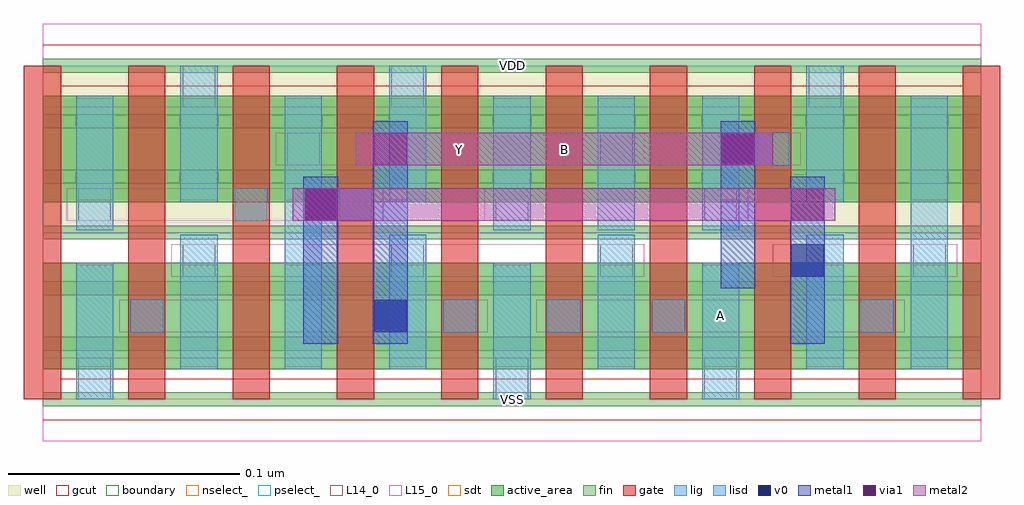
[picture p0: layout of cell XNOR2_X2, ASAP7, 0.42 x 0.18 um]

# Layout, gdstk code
import gdstk
lib = gdstk.Library(unit=1e-6, precision=2.5e-10)
def R(c, l, rs):  # rectangles x0, y0, x1, y1
    for r in rs: c.add(gdstk.rectangle(r[:2], r[2:], *l))
def A(c, l, x, y, w, h, nx, ny, dx, dy):  # array of equal rectangles
    R(c, l, [(x+i*dx, y+j*dy, x+i*dx+w, y+j*dy+h) for i in range(nx) for j in range(ny)])
def P(c, l, *ps):  # polygons
    for p in ps: c.add(gdstk.Polygon(p, *l))
well = (1, 0)
fin = (2, 0)
gate = (7, 0)
gcut = (10, 0)
active_area = (11, 0)
nselect_ = (12, 0)
pselect_ = (13, 0)
L14_0 = (14, 0)
L15_0 = (15, 0)
lig = (16, 0)
lisd = (17, 0)
v0 = (18, 0)
metal1 = (19, 0)
metal2 = (20, 0)
via1 = (21, 0)
sdt = (88, 0)
boundary = (100, 0)

xnor2_x2 = lib.new_cell('XNOR2_X2')
R(xnor2_x2, well, [(0,0.072,0.405,0.144)])
A(xnor2_x2, fin, 0, -0.003, 0.405, 0.006, 1, 7, 0, 0.024)
A(xnor2_x2, gate, -0.008, 0, 0.016, 0.144, 10, 1, 0.045, 0)
P(xnor2_x2, gcut, [(0,-0.009),(0,0),(-0.008,0),(-0.008,0.135),(0.008,0.135),(0.008,0.009),(0.397,0.009),(0.397,0.135),(-0.008,0.135),(-0.008,0.144),(0,0.144),(0,0.153),(0.405,0.153),(0.405,0.144),(0.413,0.144),(0.413,0),(0.405,0),(0.405,-0.009)])
R(xnor2_x2, active_area, [(0,0.013,0.405,0.059), (0,0.085,0.405,0.131)])
R(xnor2_x2, nselect_, [(0,0,0.405,0.072)])
R(xnor2_x2, pselect_, [(0,0.072,0.405,0.144)])
A(xnor2_x2, L14_0, 0.173, 0.029, 0.014, 0.014, 3, 1, 0.045, 0)
A(xnor2_x2, L14_0, 0.0605, 0.053, 0.014, 0.014, 3, 1, 0.09, 0)
R(xnor2_x2, L14_0, [(0.0155,0,0.0295,0.018), (0.1955,0,0.2095,0.018), (0.2855,0,0.2995,0.018), (0.038,0.029,0.052,0.043), (0.353,0.029,0.367,0.043), (0.3755,0.053,0.3895,0.067), (0.0155,0.077,0.0295,0.091), (0.083,0.077,0.097,0.091), (0.128,0.077,0.142,0.091), (0.1955,0.077,0.2095,0.091), (0.2855,0.077,0.2995,0.091), (0.1055,0.101,0.1195,0.115), (0.2405,0.101,0.2545,0.115), (0.308,0.101,0.322,0.115), (0.0605,0.126,0.0745,0.144), (0.1505,0.126,0.1645,0.144), (0.3305,0.126,0.3445,0.144)])
R(xnor2_x2, L15_0, [(0,-0.018,0.405,0.018), (0.033,0.029,0.192,0.043), (0.213,0.029,0.372,0.043), (0.0555,0.053,0.2595,0.067), (0.315,0.053,0.3945,0.067), (0.0105,0.077,0.147,0.091), (0.1905,0.077,0.3045,0.091), (0.1005,0.101,0.2595,0.115), (0.285,0.101,0.327,0.115), (0,0.126,0.405,0.162)])
A(xnor2_x2, lig, 0.173, 0.029, 0.014, 0.014, 3, 1, 0.045, 0)
R(xnor2_x2, lig, [(0.038,0.029,0.052,0.043), (0.353,0.029,0.367,0.043), (0.083,0.077,0.097,0.091), (0.128,0.077,0.142,0.091), (0.308,0.101,0.322,0.115)])
A(xnor2_x2, lisd, 0.0595, 0.013, 0.016, 0.058, 4, 1, 0.09, 0)
A(xnor2_x2, lisd, 0.1945, 0.073, 0.016, 0.058, 3, 1, 0.045, 0)
R(xnor2_x2, lisd, [(0.0145,0,0.0305,0.059), (0.1945,0,0.2105,0.059), (0.2845,0,0.3005,0.059), (0.1045,0.013,0.1205,0.131), (0.3745,0.013,0.3905,0.131), (0.0145,0.073,0.0305,0.131), (0.0595,0.085,0.0755,0.144), (0.1495,0.085,0.1655,0.144), (0.3295,0.085,0.3455,0.144)])
R(xnor2_x2, v0, [(0.143,0.029,0.157,0.043), (0.323,0.053,0.337,0.067), (0.113,0.077,0.127,0.091), (0.293,0.101,0.307,0.115)])
R(xnor2_x2, metal1, [(0.1125,0.024,0.1275,0.096), (0.1425,0.024,0.1575,0.12), (0.3225,0.024,0.3375,0.096), (0.2925,0.048,0.3075,0.12)])
R(xnor2_x2, metal2, [(0.108,0.077,0.342,0.091), (0.135,0.101,0.315,0.115)])
R(xnor2_x2, via1, [(0.113,0.077,0.127,0.091), (0.323,0.077,0.337,0.091), (0.143,0.101,0.157,0.115), (0.293,0.101,0.307,0.115)])
A(xnor2_x2, sdt, 0.0145, 0.014, 0.016, 0.044, 9, 2, 0.045, 0.072)
R(xnor2_x2, boundary, [(0,0,0.405,0.144)])
xnor2_x2.add(gdstk.Label('A', (0.2925,0.036), layer=15, texttype=251))
xnor2_x2.add(gdstk.Label('VSS', (0.2025,0), layer=15, texttype=251))
xnor2_x2.add(gdstk.Label('VDD', (0.2025,0.144), layer=15, texttype=251))
xnor2_x2.add(gdstk.Label('VSS', (0.2025,0), layer=15, texttype=251))
xnor2_x2.add(gdstk.Label('VDD', (0.2025,0.144), layer=15, texttype=251))
xnor2_x2.add(gdstk.Label('Y', (0.18,0.108), layer=15, texttype=251))
xnor2_x2.add(gdstk.Label('VSS', (0.2025,0), layer=15, texttype=251))
xnor2_x2.add(gdstk.Label('VDD', (0.2025,0.144), layer=15, texttype=251))
xnor2_x2.add(gdstk.Label('VSS', (0.2025,0), layer=3, texttype=251))
xnor2_x2.add(gdstk.Label('VSS', (0.2025,0), layer=3, texttype=251))
xnor2_x2.add(gdstk.Label('VSS', (0.2025,0), layer=3, texttype=251))
xnor2_x2.add(gdstk.Label('VDD', (0.2025,0.144), layer=1, texttype=251))
xnor2_x2.add(gdstk.Label('VDD', (0.2025,0.144), layer=1, texttype=251))
xnor2_x2.add(gdstk.Label('VDD', (0.2025,0.144), layer=1, texttype=251))
xnor2_x2.add(gdstk.Label('B', (0.225,0.108), layer=20, texttype=251))

lib.write_gds('XNOR2_X2.gds')
